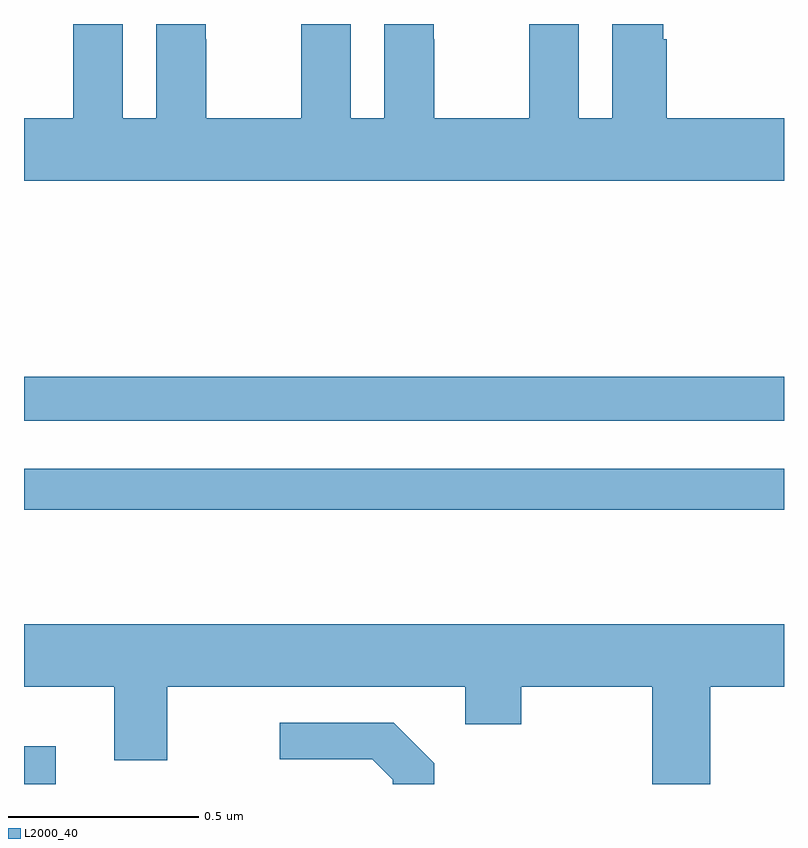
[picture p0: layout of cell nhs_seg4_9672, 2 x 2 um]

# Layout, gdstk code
import gdstk
lib = gdstk.Library(unit=1e-6, precision=1e-09)
def R(c, l, rs):  # rectangles x0, y0, x1, y1
    for r in rs: c.add(gdstk.rectangle(r[:2], r[2:], *l))
def P(c, l, *ps):  # polygons
    for p in ps: c.add(gdstk.Polygon(p, *l))
L2000_40 = (2000, 40)

nhs_seg4_9672 = lib.new_cell('nhs_seg4_9672')
R(nhs_seg4_9672, L2000_40, [(230,793.9,230.083,793.999), (230,794.622,232,794.73), (230,794.856,232,794.972)])
P(nhs_seg4_9672, L2000_40, [(232,795.652),(231.692,795.652),(231.692,795.86),(231.682,795.86),(231.682,795.9),(231.548,795.9),(231.548,795.652),(231.46,795.652),(231.46,795.9),(231.33,795.9),(231.33,795.86),(231.329,795.86),(231.329,795.652),(231.079,795.652),(231.079,795.86),(231.078,795.86),(231.078,795.9),(230.948,795.9),(230.948,795.652),(230.86,795.652),(230.86,795.9),(230.73,795.9),(230.73,795.86),(230.729,795.86),(230.729,795.652),(230.479,795.652),(230.479,795.86),(230.478,795.86),(230.478,795.9),(230.348,795.9),(230.348,795.652),(230.26,795.652),(230.26,795.9),(230.13,795.9),(230.13,795.86),(230.129,795.86),(230.129,795.652),(230,795.652),(230,795.488),(232,795.488)],
  [(231.806,794.156),(232,794.156),(232,794.32),(230,794.32),(230,794.156),(230.237,794.156),(230.237,793.962),(230.377,793.962),(230.377,794.156),(231.161,794.156),(231.161,794.057),(231.309,794.057),(231.309,794.156),(231.653,794.156),(231.653,793.9),(231.806,793.9)],
  [(231.079,793.955),(230.973,794.061),(230.673,794.061),(230.673,793.965),(230.916,793.965),(230.97,793.911),(230.97,793.9),(231.079,793.9)])

lib.write_gds('nhs_seg4_9672.gds')
